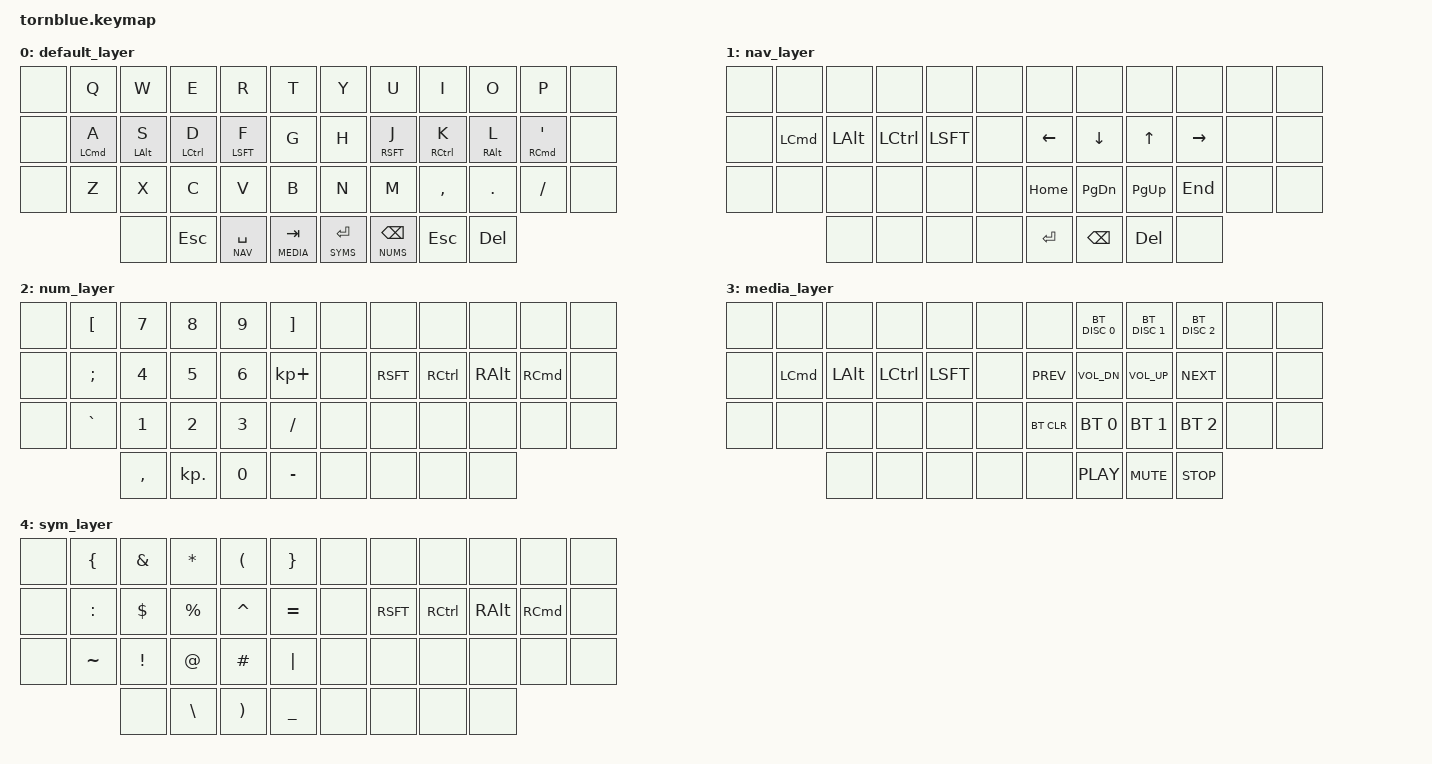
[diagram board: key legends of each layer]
/*
 * Copyright (c) 2021 Richard Titmuss
 *
 * SPDX-License-Identifier: MIT
 */

#include <behaviors.dtsi>
#include <dt-bindings/zmk/keys.h>
#include <dt-bindings/zmk/ext_power.h>
#include <dt-bindings/zmk/bt.h>

#define DEFAULT 0
#define NAV     1
#define NUMS    2
#define MEDIA   3
#define SYMS    4

/ {

    behaviors {
        rpi: require_prior_idle {
            compatible = "zmk,behavior-hold-tap";
            #binding-cells = <2>;
            flavor = "tap-preferred";
            tapping-term-ms = <200>;
            quick-tap-ms = <200>;
            require-prior-idle-ms = <125>;
            bindings = <&kp>, <&kp>;
        };
    };

    keymap {
        compatible = "zmk,keymap";

        default_layer {
            bindings = <
&none &kp Q       &kp W        &kp E       &kp R         &kp T            &kp Y        &kp U         &kp I       &kp O       &kp P          &none
&none &rpi LCMD A &rpi LALT S  &rpi LCTL D &rpi LSFT F   &kp G            &kp H        &rpi RSFT J   &rpi RCTL K &rpi RALT L &rpi RCMD APOS &none
&none &kp Z       &kp X        &kp C       &kp V         &kp B            &kp N        &kp M         &kp COMMA   &kp DOT     &kp FSLH       &none
                  &none        &kp ESC     &lt NAV SPACE &lt MEDIA TAB    &lt SYMS RET &lt NUMS BSPC &kp ESC     &kp DEL
            >;
        };

        nav_layer {
            bindings = <
&none &none    &none    &none    &none    &none       &none          &none          &none         &none           &none &none
&none &kp LCMD &kp LALT &kp LCTL &kp LSFT &none       &kp LEFT_ARROW &kp DOWN_ARROW &kp UP_ARROW  &kp RIGHT_ARROW &none &none
&none &none    &none    &none    &none    &none       &kp HOME       &kp PAGE_DOWN  &kp PAGE_UP   &kp END         &none &none
               &none    &none    &none    &none       &kp RET        &kp BSPC       &kp DEL       &none
            >;
        };

        num_layer {
            bindings = <
&none &kp LBKT  &kp N7    &kp N8     &kp N9 &kp RBKT       &none  &none    &none    &none    &none    &none
&none &kp SEMI  &kp N4    &kp N5     &kp N6 &kp KP_PLUS    &none  &kp RSFT &kp RCTL &kp RALT &kp RCMD &none
&none &kp GRAVE &kp N1    &kp N2     &kp N3 &kp FSLH       &none  &none    &none    &none    &none    &none
                &kp COMMA &kp KP_DOT &kp N0 &kp MINUS      &none  &none    &none    &none
            >;
        };

        media_layer {
            bindings = <
&none &none    &none    &none    &none    &none     &none      &bt BT_DISC 0 &bt BT_DISC 1 &bt BT_DISC 2 &none &none
&none &kp LCMD &kp LALT &kp LCTL &kp LSFT &none     &kp C_PREV &kp C_VOL_DN  &kp C_VOL_UP  &kp C_NEXT    &none &none
&none &none    &none    &none    &none    &none     &bt BT_CLR &bt BT_SEL 0  &bt BT_SEL 1  &bt BT_SEL 2  &none &none
               &none    &none    &none    &none     &none      &kp C_PLAY    &kp C_MUTE    &kp C_STOP
            >;
        };

        sym_layer {
            bindings = <
&none &kp LBRC  &kp AMPS &kp STAR    &kp LEFT_PARENTHESIS  &kp RBRC      &none  &none    &none    &none    &none    &none
&none &kp COLON &kp DLLR &kp PRCNT   &kp CARET             &kp EQUAL     &none  &kp RSFT &kp RCTL &kp RALT &kp RCMD &none
&none &kp TILDE &kp EXCL &kp AT_SIGN &kp HASH              &kp PIPE      &none  &none    &none    &none    &none    &none
                &none    &kp BSLH    &kp RIGHT_PARENTHESIS &kp UNDER     &none  &none    &none    &none
            >;
        };
    };
};
